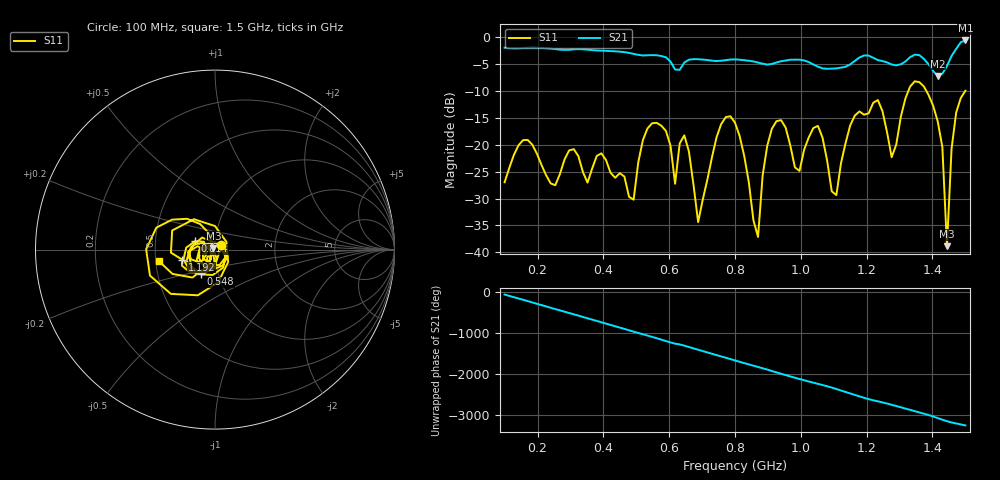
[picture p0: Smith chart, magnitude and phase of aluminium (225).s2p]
! NanoVNA-App
! Date: 2025-09-25 14:57:02
! Start: 100MHz Stop: 1,5GHz Points: 101
! S-Parameter data: F S11 S21 S12 S22
# Hz S RI R 50
!  Frequency  S11_Real  S11_Imag  S21_Real  S21_Imag  S12_Real  S12_Imag  S22_Real  S22_Imag
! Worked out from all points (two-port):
!   101 points, 100 MHz to 1.5 GHz, reference 50 ohm
!   highest |S21| = -0.57 dB at 1.5 GHz (marker M1); lowest = -7.2 dB at 1.416 GHz (marker M2)
!   |S21| within 3 dB of the highest: start of sweep to 582.2 MHz; 1.457 GHz to end of sweep (the widest 2 of 4)
!   lowest |S11| = -38.9 dB at 1.444 GHz (marker M3), VSWR 1.02, Z = 49.2 + j0.756 ohm
!   |S11| at or under -10 dB: start of sweep to 1.327 GHz; 1.382 GHz to 1.499 GHz (117.6 MHz wide, 8.16 % of centre)
!   S12 and S22 are empty: the file has one direction only
!   S11 on the Smith chart (normalised r, x): 100 MHz: 1.07, +0.06; 548 MHz: 0.82, -0.23; 814 MHz: 0.80, +0.07; 1.192 GHz: 0.69, -0.08; 1.5 GHz: 0.52, -0.07
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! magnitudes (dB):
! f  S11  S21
! 100 MHz  -27.0  -1.9
! 338 MHz  -25.1  -2.2
! 492 MHz  -30.2  -3.1
! 548 MHz  -16.0  -3.3
! 576 MHz  -16.4  -3.5
! 618 MHz  -27.2  -6.0
! 646 MHz  -18.2  -4.7
! 688 MHz  -34.4  -4.1
! 800 MHz  -15.9  -4.1
! 814 MHz  -18.3  -4.2
! 870 MHz  -37.1  -4.7
! 912 MHz  -17.0  -4.9
! 996 MHz  -24.9  -4.2
! 1.038 GHz  -16.9  -5.0
! 1.108 GHz  -29.4  -5.8
! 1.192 GHz  -14.4  -3.4
! 1.276 GHz  -22.3  -5.1
! 1.346 GHz  -8.2  -3.2
! 1.416 GHz  -15.6  -7.2
! 1.444 GHz  -38.9  -5.3
! 1.458 GHz  -20.7  -3.5
! 1.5 GHz  -9.9  -0.6
